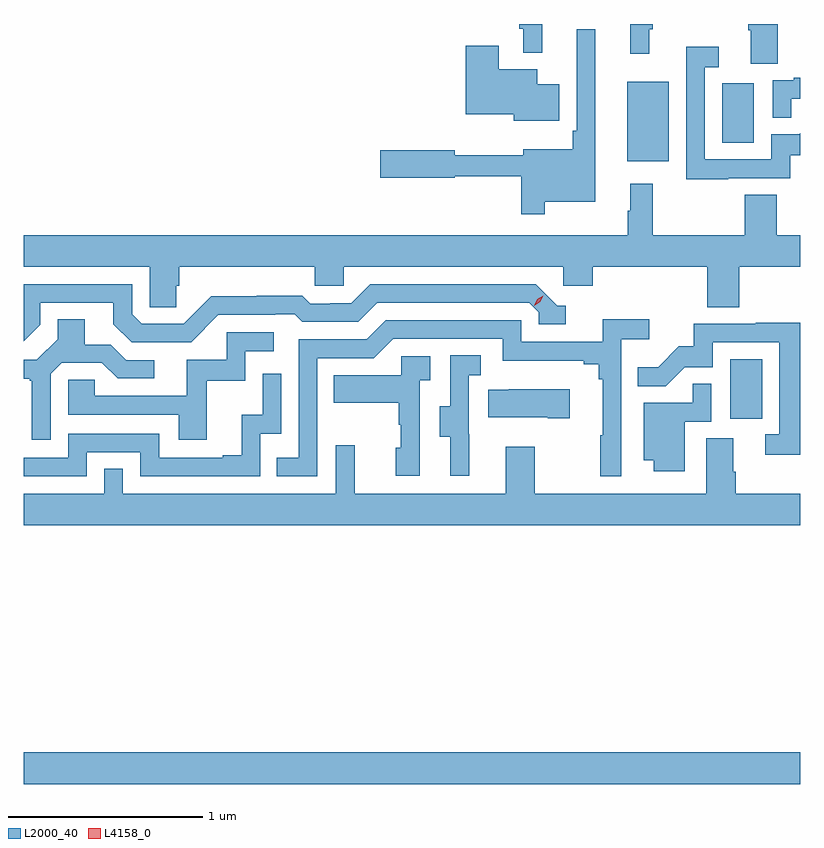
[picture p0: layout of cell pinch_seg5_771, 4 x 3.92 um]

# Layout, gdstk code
import gdstk
lib = gdstk.Library(unit=1e-6, precision=1e-09)
def R(c, l, rs):  # rectangles x0, y0, x1, y1
    for r in rs: c.add(gdstk.rectangle(r[:2], r[2:], *l))
def P(c, l, *ps):  # polygons
    for p in ps: c.add(gdstk.Polygon(p, *l))
L2000_40 = (2000, 40)
L4158_0 = (4158, 0)

pinch_seg5_771 = lib.new_cell('pinch_seg5_771')
R(pinch_seg5_771, L2000_40, [(850.811,898.052,854.811,898.216), (854.45,899.934,854.614,900.241), (853.919,901.259,854.134,901.669), (854.408,901.356,854.572,901.663)])
P(pinch_seg5_771, L2000_40, [(854.033,901.94),(854.051,901.94),(854.051,901.967),(853.934,901.967),(853.934,901.815),(854.033,901.815)],
  [(854.695,901.967),(854.543,901.967),(854.543,901.936),(854.555,901.936),(854.555,901.762),(854.695,901.762)],
  [(853.481,901.967),(853.363,901.967),(853.363,901.942),(853.383,901.942),(853.383,901.82),(853.481,901.82)],
  [(853.495,901.052),(853.756,901.052),(853.756,901.939),(853.659,901.939),(853.659,901.417),(853.639,901.417),(853.639,901.321),(853.385,901.321),(853.385,901.292),(853.032,901.292),(853.032,901.316),(852.648,901.316),(852.648,901.174),(853.032,901.174),(853.032,901.182),(853.374,901.182),(853.374,900.987),(853.495,900.987)],
  [(853.57,901.657),(853.456,901.657),(853.456,901.735),(853.258,901.735),(853.258,901.855),(853.088,901.855),(853.088,901.502),(853.334,901.502),(853.334,901.469),(853.57,901.469)],
  [(854.441,901.173),(854.76,901.173),(854.76,901.29),(854.811,901.29),(854.811,901.404),(854.805,901.398),(854.661,901.398),(854.661,901.269),(854.319,901.269),(854.319,901.743),(854.392,901.743),(854.392,901.849),(854.223,901.849),(854.223,901.168),(854.441,901.168)],
  [(854.765,901.581),(854.811,901.581),(854.811,901.69),(854.777,901.69),(854.777,901.677),(854.67,901.677),(854.67,901.483),(854.765,901.483)],
  [(851.597,900.618),(851.612,900.618),(851.612,900.716),(852.309,900.716),(852.309,900.618),(852.459,900.618),(852.459,900.716),(853.59,900.716),(853.59,900.618),(853.742,900.618),(853.742,900.716),(854.333,900.716),(854.333,900.508),(854.498,900.508),(854.498,900.716),(854.811,900.716),(854.811,900.88),(854.69,900.88),(854.69,901.088),(854.525,901.088),(854.525,900.88),(854.051,900.88),(854.051,901.144),(853.934,901.144),(853.934,901.004),(853.923,901.004),(853.923,900.88),(850.811,900.88),(850.811,900.716),(851.46,900.716),(851.46,900.508),(851.597,900.508)],
  [(851.814,900.468),(852.107,900.468),(852.107,900.471),(852.206,900.471),(852.245,900.432),(852.534,900.432),(852.633,900.531),(853.416,900.531),(853.464,900.483),(853.464,900.42),(853.603,900.42),(853.603,900.516),(853.56,900.516),(853.449,900.627),(852.596,900.627),(852.497,900.528),(852.39,900.528),(852.39,900.525),(852.287,900.525),(852.245,900.568),(852.012,900.568),(852.012,900.565),(851.776,900.565),(851.634,900.423),(851.418,900.423),(851.37,900.471),(851.37,900.627),(850.811,900.627),(850.811,900.332),(850.896,900.417),(850.896,900.531),(851.273,900.531),(851.273,900.421),(851.367,900.327),(851.673,900.327)],
  [(852.324,900.246),(852.615,900.246),(852.714,900.345),(853.278,900.345),(853.278,900.233),(853.697,900.233),(853.697,900.214),(853.774,900.214),(853.774,900.137),(853.793,900.137),(853.793,899.849),(853.782,899.849),(853.782,899.637),(853.89,899.637),(853.89,900.344),(854.032,900.344),(854.032,900.446),(853.793,900.446),(853.793,900.33),(853.374,900.33),(853.374,900.441),(852.677,900.441),(852.578,900.342),(852.228,900.342),(852.228,899.733),(852.115,899.733),(852.115,899.637),(852.324,899.637)],
  [(850.95,900.165),(851.007,900.222),(851.213,900.222),(851.294,900.141),(851.482,900.141),(851.482,900.234),(851.34,900.234),(851.26,900.314),(851.125,900.314),(851.125,900.446),(850.985,900.446),(850.985,900.344),(850.878,900.237),(850.811,900.237),(850.811,900.14),(850.842,900.14),(850.842,900.129),(850.853,900.129),(850.853,899.826),(850.95,899.826)],
  [(854.811,900.428),(854.581,900.428),(854.581,900.423),(854.263,900.423),(854.263,900.306),(854.186,900.306),(854.079,900.199),(853.975,900.199),(853.975,900.101),(854.119,900.101),(854.216,900.198),(854.361,900.198),(854.361,900.327),(854.703,900.327),(854.703,899.853),(854.631,899.853),(854.631,899.748),(854.811,899.748)],
  [(851.753,900.129),(851.952,900.129),(851.952,900.282),(852.1,900.282),(852.1,900.378),(851.856,900.378),(851.856,900.237),(851.651,900.237),(851.651,900.051),(851.177,900.051),(851.177,900.135),(851.04,900.135),(851.04,899.955),(851.609,899.955),(851.609,899.826),(851.753,899.826)],
  [(853.106,899.853),(853.104,899.853),(853.104,900.157),(853.164,900.157),(853.164,900.26),(853.008,900.26),(853.008,899.997),(852.953,899.997),(852.953,899.842),(853.007,899.842),(853.007,899.64),(853.106,899.64)],
  [(852.852,900.131),(852.904,900.131),(852.904,900.255),(852.756,900.255),(852.756,900.157),(852.409,900.157),(852.409,900.017),(852.744,900.017),(852.744,899.903),(852.754,899.903),(852.754,899.784),(852.728,899.784),(852.728,899.64),(852.852,899.64)],
  [(851.136,899.76),(851.412,899.76),(851.412,899.637),(852.03,899.637),(852.03,899.856),(852.138,899.856),(852.138,900.166),(852.042,900.166),(852.042,899.954),(851.933,899.954),(851.933,899.746),(851.837,899.746),(851.837,899.733),(851.508,899.733),(851.508,899.856),(851.04,899.856),(851.04,899.733),(850.811,899.733),(850.811,899.637),(851.136,899.637)],
  [(854.215,899.919),(854.352,899.919),(854.352,900.113),(854.257,900.113),(854.257,900.015),(854.006,900.015),(854.006,899.72),(854.057,899.72),(854.057,899.664),(854.215,899.664)],
  [(853.624,900.085),(853.309,900.085),(853.309,900.082),(853.204,900.082),(853.204,899.942),(853.511,899.942),(853.511,899.935),(853.624,899.935)],
  [(854.811,899.548),(854.48,899.548),(854.48,899.66),(854.467,899.66),(854.467,899.834),(854.327,899.834),(854.327,899.548),(853.443,899.548),(853.443,899.788),(853.295,899.788),(853.295,899.548),(852.515,899.548),(852.515,899.797),(852.417,899.797),(852.417,899.548),(851.322,899.548),(851.322,899.675),(851.226,899.675),(851.226,899.548),(850.811,899.548),(850.811,899.384),(854.811,899.384)])
P(pinch_seg5_771, L4158_0, [(853.441,900.516),(853.441,900.516),(853.457,900.549),(853.488,900.568),(853.488,900.568),(853.488,900.568),(853.472,900.535),(853.441,900.516)])

lib.write_gds('pinch_seg5_771.gds')
